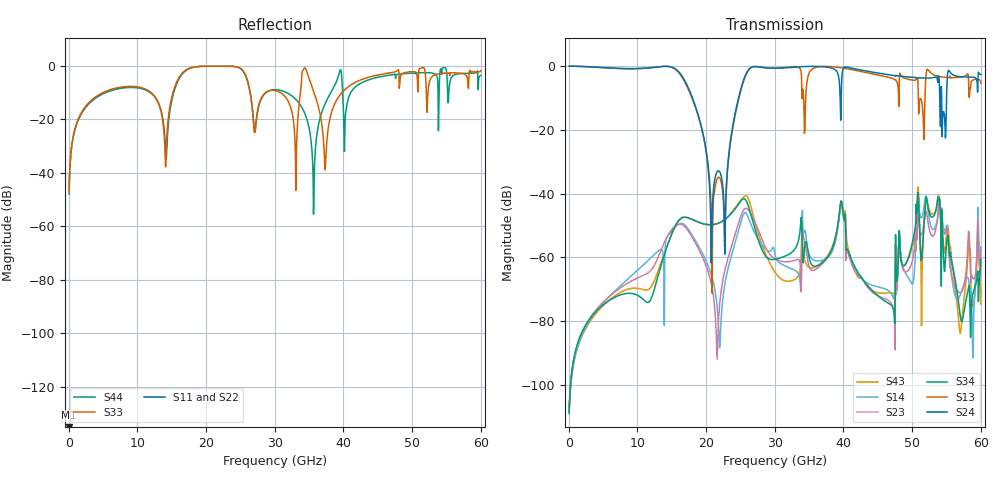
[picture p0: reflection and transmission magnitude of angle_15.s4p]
! TOUCHSTONE file generated by CST MICROWAVE STUDIO
! Date and time: Wed Jun 25 15:22:58 2025
! Project name: rogers4003c_air_gapped_wideband_balanced.cst
! Parameters = {h=3.4; lambda=10; period=5; phi=0; theta=15; thickness=0.508; w_mesh_1=2.2; w_mesh_2=2.2; w_patch_1=2; w_patch_2=2}
! Header version: 2018
! Port assignment regex: !\s*Touchstone port\s*([0-9]+)\s*=\s*(CST MWS port|CST DS port)\s*([0-9]+|Zmin|Zmax)\s*\(\"(.*)\"\)(\s*mode\s*([0-9]+))?.*
! Touchstone port assignment:
! Touchstone port 1 = CST MWS port Zmin ("") mode 1
! Touchstone port 2 = CST MWS port Zmin ("") mode 2
! Touchstone port 3 = CST MWS port Zmax ("") mode 1
! Touchstone port 4 = CST MWS port Zmax ("") mode 2
! S-Parameters are not renormalized. Unphysical impedance of 50 will be written to the file.
# GHz S RI R 50
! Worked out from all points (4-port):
!   1003 points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, 60 MHz to 60 GHz, reference per port
!   strongest paths, dB at 60 MHz, 15 GHz, 30 GHz, 45 GHz, 60 GHz:
!     S24: 0.0, -0.3, -0.7, -2.2, -2.7
!     S13: 0.0, -0.4, -0.6, -2.8, -5.4
!     S34: -108.9, -52.5, -60.6, -72.0, -60.4
!     S23: -108.6, -51.3, -60.4, -72.0, -57.8
!     S14: -108.3, -51.7, -58.9, -69.2, -56.8
!     S43: -108.2, -52.8, -64.6, -71.1, -74.7
!   lowest |S11| = - dB at 60 MHz (marker M1), VSWR 1.00
!   |S11| at or under -10 dB: start of sweep to end of sweep
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0.06  0 0  0 0  1 -0.00437  4.1e-07 -3.83e-06
      0 0  0 0  2.51e-07 -3.7e-06  1 -0.00416
      0 0  0 0  -7.12e-06 -0.00439  3.53e-07 -3.58e-06
      0 0  0 0  2.23e-07 -3.87e-06  6.02e-06 -0.00402
15.84  0 0  0 0  -0.2566 -0.7901  -0.00244 0.00214
       0 0  0 0  -0.00237 0.00226  -0.2076 -0.8286
       0 0  0 0  0.5078 -0.1922  0.00163 -0.00323
       0 0  0 0  0.00136 -0.00322  0.4952 -0.0992
20.94  0 0  0 0  0.0025 0.000114  0.000455 2.64e-05
       0 0  0 0  0.000303 3.84e-06  0.00729 -0.000457
       0 0  0 0  0.0041 -0.9963  -0.00326 -0.000261
       0 0  0 0  -0.00328 5.22e-05  0.0606 -0.9943
26.64  0 0  0 0  0.3387 0.9013  0.00298 -0.000817
       0 0  0 0  0.00454 -0.000625  0.3636 0.8956
       0 0  0 0  -0.1609 0.1293  0.00345 0.00243
       0 0  0 0  0.00529 0.0018  -0.1988 0.0058
35.64  0 0  0 0  0.9242 0.0678  -0.00091 4.38e-05
       0 0  0 0  0.000622 7.78e-05  0.9483 -0.3002
       0 0  0 0  0.0416 -0.3373  0.000653 -0.000328
       0 0  0 0  -0.00064 0.000264  8e-05 -0.00168
39.42  0 0  0 0  0.8206 -0.4847  0.0014 0.00454
       0 0  0 0  0.00121 -0.00464  0.2165 -0.478
       0 0  0 0  0.1495 0.2367  -0.00246 -0.00454
       0 0  0 0  -0.00118 0.0049  0.7442 0.2057
60  0 0  0 0  0.3194 -0.4346  0.00136 -0.000511
    0 0  0 0  0.00108 0.000702  0.529 -0.5112
    0 0  0 0  0.682 0.4578  -0.000943 0.000115
    0 0  0 0  -0.000131 -0.000129  0.47 0.477
